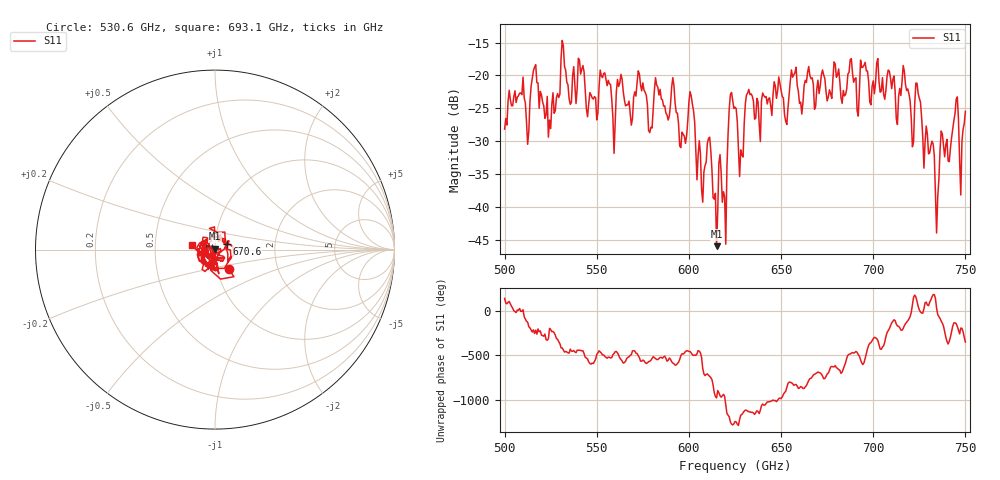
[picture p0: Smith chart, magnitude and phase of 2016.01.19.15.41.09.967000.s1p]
!Created with skrf (http://scikit-rf.org).
# GHz S RI R 50.0
!freq ReS11 ImS11
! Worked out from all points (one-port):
!   401 points, 500 GHz to 750 GHz, reference 50 ohm
!   lowest |S11| = -46.0 dB at 615 GHz (marker M1), VSWR 1.01, Z = 49.9 + j0.492 ohm
!   |S11| at or under -10 dB: start of sweep to end of sweep
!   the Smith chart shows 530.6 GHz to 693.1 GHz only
!   S11 on the Smith chart (normalised r, x): 530.6 GHz: 1.14, -0.25; 670.6 GHz: 1.14, +0.07; 693.1 GHz: 0.77, +0.04
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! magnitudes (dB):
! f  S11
! 500 GHz  -28.2
! 508.8 GHz  -22.7
! 512.5 GHz  -30.5
! 516.2 GHz  -18.8
! 523.8 GHz  -29.4
! 530.6 GHz  -17.4
! 531.2 GHz  -14.7
! 553.1 GHz  -20.3
! 559.4 GHz  -31.9
! 562.5 GHz  -21.2
! 593.8 GHz  -25.7
! 601.2 GHz  -23.2
! 615 GHz  -46.0
! 619.4 GHz  -38.5
! 622.5 GHz  -22.9
! 625 GHz  -24.8
! 628.1 GHz  -31.3
! 632.5 GHz  -22.1
! 652.5 GHz  -27.0
! 656.2 GHz  -20.3
! 670.6 GHz  -22.8
! 687.5 GHz  -17.6
! 693.1 GHz  -17.7
! 718.8 GHz  -22.1
! 724.4 GHz  -22.7
! 734.4 GHz  -44.0
! 737.5 GHz  -28.9
! 750 GHz  -25.5
